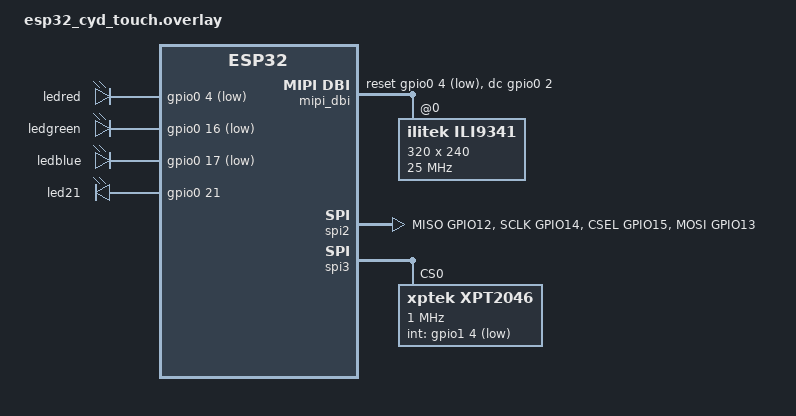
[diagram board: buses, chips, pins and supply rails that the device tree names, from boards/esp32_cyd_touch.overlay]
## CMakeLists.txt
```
cmake_minimum_required(VERSION 3.20.0)
find_package(Zephyr REQUIRED HINTS $ENV{ZEPHYR_BASE})
project(cyd-zephyr-tests)

include(${ZEPHYR_BASE}/cmake/app/boilerplate.cmake NO_POLICY_SCOPE)

# Add source files directly to the main app
target_sources(app PRIVATE 
    src/main.c
    components/display_component/display_component.c
    components/wifi_component/wifi_component.c
    components/sntp_component/sntp_component.c
    components/settings_component/settings_component.c
)

# Add include directories
target_include_directories(app PRIVATE
    components/display_component
    components/wifi_component
    components/sntp_component
    components/settings_component
)
```

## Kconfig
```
mainmenu "Customized Menu Name"
source "Kconfig.zephyr"

menu "CYD application options"

config PROJECT_NAME
    string "Project Name"
    default "CYD_ZEPHYR"
    help
        Set the project name for the application.

config CYD_ENABLE_TOUCH
    bool "Enable touch support"
    default n
    help
        Enable this option to include touch support in the application.

config DEPLOY_EMBEDDED
    bool "Deploy on embedded target"
    default y
    help
        Enable this option if running on a microcontroller

endmenu
```

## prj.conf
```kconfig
#### Target Specific Settings ####

# Needed for display and LVGL (prevent stack overflow and crash)
CONFIG_MAIN_STACK_SIZE=8192
# Enable Zephyr system workqueue for k_work_delayable
CONFIG_SYSTEM_WORKQUEUE_STACK_SIZE=2048
# CONFIG_SYSTEM_WORKQUEUE_PRIORITY=2

# Use with ESP32 chip revision 1
CONFIG_ESP32_USE_UNSUPPORTED_REVISION=y

#### Display Specific Settings ####

# Enable display driver (ST7735R)
CONFIG_DISPLAY=y

# Configure LVGL
CONFIG_LVGL=y
#CONFIG_LV_MEM_CUSTOM=y
CONFIG_LV_Z_BITS_PER_PIXEL=16
CONFIG_LV_COLOR_16_SWAP=y
CONFIG_LV_Z_MEM_POOL_SIZE=16384
CONFIG_LV_TXT_ENC_UTF8=y

# Enable LVGL widgets
CONFIG_LV_CONF_MINIMAL=y
CONFIG_LV_USE_LABEL=y
CONFIG_LV_USE_BUTTON=y
CONFIG_LV_LABEL_TEXT_SELECTION=y
CONFIG_LV_LABEL_LONG_TXT_HINT=y
CONFIG_LV_USE_LINE=y

# Config touchscreen
CONFIG_GPIO=y
CONFIG_SPI=y
CONFIG_INPUT=y

CONFIG_MIPI_DBI=y
CONFIG_MIPI_DBI_SPI=y
CONFIG_ESP32_SPIM=y
CONFIG_DISPLAY=y
CONFIG_SENSOR=y

# Input drivers
CONFIG_INPUT_XPT2046=y

CONFIG_LV_Z_MEM_POOL_SYS_HEAP=y

CONFIG_LV_USE_THEME_DEFAULT=y
CONFIG_LV_THEME_DEFAULT_GROW=y
CONFIG_LV_THEME_DEFAULT_TRANSITION_TIME=80
CONFIG_LV_USE_FLEX=y
CONFIG_LV_USE_GRID=y
CONFIG_LV_USE_TFT_ESPI=y
CONFIG_LV_USE_ILI9341=y

#### Logging Specific Settings ####

# Enable logging
CONFIG_LOG=y
CONFIG_LOG_MODE_DEFERRED=y
CONFIG_LOG_RUNTIME_FILTERING=y
CONFIG_LOG_BUFFER_SIZE=2048
CONFIG_LOG_PRINTK=y
CONFIG_LOG_PROCESS_TRIGGER_THRESHOLD=0
CONFIG_COVERAGE=n
CONFIG_LOG_TAG_MAX_LEN=15

#### Network Specific Settings ####

# Enable Wifi
CONFIG_WIFI=y
CONFIG_INIT_STACKS=y
CONFIG_NET_L2_WIFI_MGMT=y
CONFIG_NET_HOSTNAME_ENABLE=y
CONFIG_NET_HOSTNAME_DYNAMIC=y

CONFIG_NETWORKING=y
CONFIG_NET_IPV4=y
#CONFIG_NET_IPV6=y
CONFIG_NET_UDP=y
#CONFIG_NET_TCP=y
#CONFIG_DNS_RESOLVER=y
#CONFIG_DNS_RESOLVER_AI_MAX_ENTRIES=10

CONFIG_NET_SOCKETS=y
CONFIG_NET_SOCKETS_SERVICE=y
#CONFIG_HTTP_CLIENT=y

# Use DHCP for IPv4
CONFIG_NET_DHCPV4=y

# Or assign a static IP address (useful for testing)
# Following line must be enabled, otherwise WiFi connection fails with -1.
CONFIG_NET_CONFIG_SETTINGS=y
CONFIG_NET_CONFIG_INIT_TIMEOUT=1

# SNTP
CONFIG_SNTP=y

#### Filesystem Specific Settings ####

# Filesystem
CONFIG_FLASH=y
CONFIG_FLASH_MAP=y

CONFIG_FILE_SYSTEM=y
CONFIG_FILE_SYSTEM_LITTLEFS=y

#### Self-defined Specific Settings ####

#  parameters
CONFIG_CYD_ENABLE_TOUCH=y

# Custom Project configuration
CONFIG_PROJECT_NAME="Cyd-Zephyr"

CONFIG_DEPLOY_EMBEDDED=y


# End of prj.conf
```

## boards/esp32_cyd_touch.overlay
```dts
#include <zephyr/dt-bindings/display/ili9xxx.h>
#include <zephyr/dt-bindings/input/input-event-codes.h>
#include <dt-bindings/spi/spi.h>

/ {
	aliases {
		led-red = &ledred;
		led-green = &ledgreen;
		led-blue = &ledblue;
		backlight = &led21;
	};

	leds {
		compatible = "gpio-leds";
		ledred: d4 {
			gpios = <&gpio0 4 GPIO_ACTIVE_LOW>;
		};
		ledgreen: d16 {
			gpios = <&gpio0 16 GPIO_ACTIVE_LOW>;
		};
		ledblue: d17 {
			gpios = <&gpio0 17 GPIO_ACTIVE_LOW>;
		};
		led21: d21 {
			gpios = <&gpio0 21 GPIO_ACTIVE_HIGH>;
		};
	};

    chosen {
		zephyr,display = &ili9341;
		zephyr,touch = &xpt2046;
		zephyr,flash = &flash0;
    };

	lvgl_pointer {
		compatible = "zephyr,lvgl-pointer-input";
		input = <&xpt2046>;
		invert-x;
	};

	mipi_dbi {
		compatible = "zephyr,mipi-dbi-spi";
		dc-gpios = <&gpio0 2 GPIO_ACTIVE_HIGH>;
		reset-gpios = <&gpio0 4 GPIO_ACTIVE_LOW>;
		spi-dev = <&spi2>;
		write-only;
		#address-cells = <1>;
		#size-cells = <0>;

		ili9341: ili9341@0 {
			compatible = "ilitek,ili9341";
			mipi-max-frequency = <25000000>;
			#spi-max-frequency = <25000000>;
			reg = <0>;
			pixel-format = <0>;
			rotation = <90>;
			width = <320>;
			height = <240>;
		};
	};

	soc {
		spi2 {
			pinctrl-0 = <&spi2_custom_pins>;
			status = "okay";
		};

		pinctrl {
			spi2_custom_pins: spi2_custom_pins {
				group1 {
					pinmux = <SPIM2_MISO_GPIO12>,
						<SPIM2_SCLK_GPIO14> ,
						<SPIM2_CSEL_GPIO15>
						;
				};
				group2 {
					pinmux = <SPIM2_MOSI_GPIO13>;
					output-low;
				};
			};

			spi3_custom_pins: spi3_custom_pins {
				group1 {
					pinmux = <SPIM3_MISO_GPIO39>,
						<SPIM3_SCLK_GPIO25>,
						<SPIM3_CSEL_GPIO33>
						;
				};
				group2 {
					pinmux = <SPIM3_MOSI_GPIO32>;
					output-low;
				};
			};

		};
	};
};

&spim3_default {
	group1 {
		pinmux = <SPIM3_MISO_GPIO39>,
			<SPIM3_SCLK_GPIO25>,
			<SPIM3_CSEL_GPIO33>
			;
	};
	group2 {
		pinmux = <SPIM3_MOSI_GPIO32>;
		output-low;
	};
};

&spi3 {
	compatible = "espressif,esp32-spi";
	status = "okay";
//	pinctrl-0 = <&spi3_custom_pins>;
	xpt2046: xpt2046@0 {
		compatible = "xptek,xpt2046";
		spi-max-frequency = <1000000>;
		reg = <0>;
		int-gpios = <&gpio1 4 GPIO_ACTIVE_LOW>;
		touchscreen-size-x = <240>;
		touchscreen-size-y = <320>;
		min-x = <0>;
		min-y = <0>;
		max-x = <3800>;
		max-y = <3800>;
		reads = <4>;
	};
};
/*
First, I need to remove the existing partitions node under flash0,
then I define a new partitions node with my custom partition layout.

Check ~/zephyr/dts/vendor/espressif/ for reference partition tables according to the device.

I dont need to redefine boot and sys partitions but I do it for clarity.

*/
&flash0 { /delete-node/ partitions; };
&flash0 {

	partitions {

		compatible = "fixed-partitions";
		#address-cells = <1>;
		#size-cells = <1>;

		boot_partition: partition@1000 {
			label = "mcuboot";
			reg = <0x1000 DT_SIZE_K(60)>;
		};

		sys_partition: partition@10000 {
			label = "sys";
			reg = <0x10000 DT_SIZE_K(64)>;
		};

		/* Slot zero 1778 KB */
		slot0_partition: partition@20000 {
			label = "image-0";
			reg = <0x20000 DT_SIZE_K(1778)>;
		};

		/* Slot zero 1778 KB */
		slot1_partition: partition@1e0000 {
			label = "image-1";
			reg = <0x1E0000 DT_SIZE_K(1778)>;
		};

		/* Scratch partition 124 KB */
		scratch_partition: partition@3e0000 {
			label = "image-scratch";
			reg = <0x3E0000 DT_SIZE_K(124)>;
		};

		/* Coredump partition 4 KB */
		coredump_partition: partition@3ff000 {
			label = "coredump";
			reg = <0x3FF000 DT_SIZE_K(4)>;
		};

		/* Storage partition 192 KB */
		storage_partition: partition@3b0000 {
			label = "storage";
			reg = <0x3B0000 DT_SIZE_K(192)>;
		};
	};
};

// &i2c0 {
//     aht20: aht20@38 {
//         compatible = "aosong,aht20";
//         reg = <0x38>;
//         status = "okay";
//     };
// };

// &wifi {
//     status = "okay";
// };

// &rtc {
//     status = "okay";
// };
```

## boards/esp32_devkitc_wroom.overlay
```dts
#include <zephyr/dt-bindings/mipi_dbi/mipi_dbi.h>

/ {
	aliases {
        backlight = &backlight0;
    };

    chosen {
        zephyr,display = &ili9341;
		zephyr,flash = &flash0;
    };

	leds {
        compatible = "gpio-leds";
        backlight0: d21 {
            gpios = <&gpio0 21 GPIO_ACTIVE_HIGH>;
        };
    };

    mipi_dbi {
		compatible = "zephyr,mipi-dbi-spi";
		dc-gpios = <&gpio0 2 GPIO_ACTIVE_HIGH>;
		spi-dev = <&spi2>;
		write-only;
		#address-cells = <1>;
		#size-cells = <0>;

		ili9341: ili9341@0 {
			compatible = "ilitek,ili9341";
			mipi-max-frequency = <25000000>;
			reg = <0>;
			pixel-format = <0>;
			rotation = <90>;
			width = <240>;
			height = <320>;
		};
	};
};

&flash0 { /delete-node/ partitions; };
&flash0 {

	partitions {

		compatible = "fixed-partitions";
		#address-cells = <1>;
		#size-cells = <1>;

		boot_partition: partition@1000 {
			label = "mcuboot";
			reg = <0x1000 DT_SIZE_K(60)>;
		};

		sys_partition: partition@10000 {
			label = "sys";
			reg = <0x10000 DT_SIZE_K(64)>;
		};

		/* Slot zero 1778 KB */
		slot0_partition: partition@20000 {
			label = "image-0";
			reg = <0x20000 DT_SIZE_K(1778)>;
		};

		/* Slot zero 1778 KB */
		slot1_partition: partition@1e0000 {
			label = "image-1";
			reg = <0x1E0000 DT_SIZE_K(1778)>;
		};

		/* Scratch partition 124 KB */
		scratch_partition: partition@3e0000 {
			label = "image-scratch";
			reg = <0x3E0000 DT_SIZE_K(124)>;
		};

		/* Coredump partition 4 KB */
		coredump_partition: partition@3ff000 {
			label = "coredump";
			reg = <0x3FF000 DT_SIZE_K(4)>;
		};

		/* Storage partition 192 KB */
		storage_partition: partition@3b0000 {
			label = "storage";
			reg = <0x3B0000 DT_SIZE_K(192)>;
		};
	};
};
```

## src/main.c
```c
#include <zephyr/kernel.h>
#include <zephyr/logging/log.h>
#include <zephyr/logging/log_ctrl.h>
#include <zephyr/net/sntp.h>
#include <zephyr/net/socket.h>
#include <time.h>
#include <lvgl.h>
#include "wifi_component.h"
#include "sntp_component.h"
#include "display_component.h"
#include "settings_component.h"
#include "settings_names.h"

LOG_MODULE_REGISTER(main);

int main(void) {

    (void)log_set_tag("cyd-zephyr-tests"); // Add once
    LOG_INF("App cyd-zephyr-tests started.");
    PersistentSettings global_params = {"ESP32", "fake_ap", "fake_pass"};
    PersistentSettings *global_params_p = &global_params;
    load_persistent_settings(global_params_p);


    init_wifi(global_params.wifi_ssid, global_params.wifi_pass, global_params.wifi_max_retry, global_params.wifi_short_retry_delay, global_params.wifi_long_retry_delay);

    lv_init();

    init_display();

    draw_content();

    while (true) {
        update_display();
    }

}

K_THREAD_DEFINE(ntp_thread_id, 2048, sync_time_periodically, NULL, NULL, NULL, 7, 0, 0);
```
